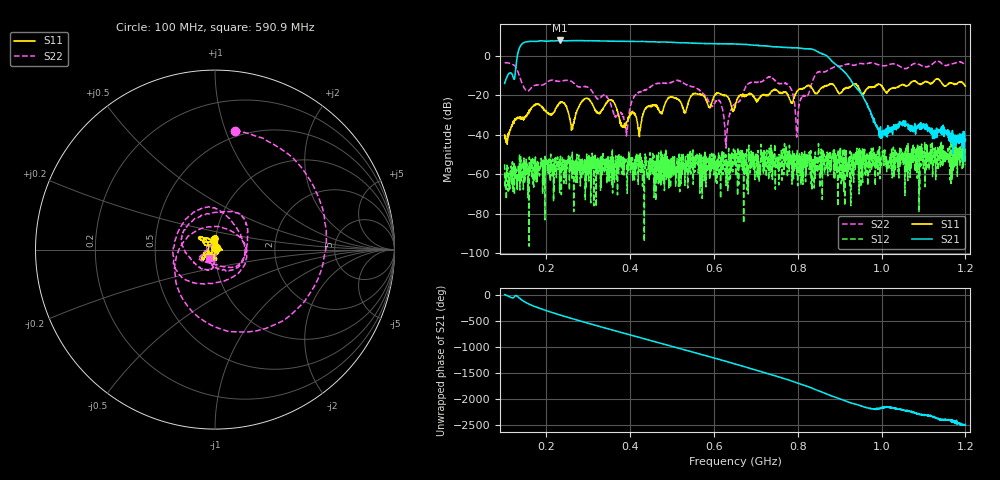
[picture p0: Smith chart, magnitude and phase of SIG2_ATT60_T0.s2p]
# Hz S DB R 50
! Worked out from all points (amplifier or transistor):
!   1601 points, 100 MHz to 1.2 GHz, reference 50 ohm
!   highest |S21| = 7.9 dB at 232 MHz (marker M1)
!   |S21| within 3 dB of that: 137.1 MHz to 733.4 MHz (596.2 MHz wide, 137 % of centre)
!   unconditionally stable (mu >= 1): start of sweep to end of sweep
!   at 282.9 MHz: K = 91.06, MAG = 8.0 dB, |S12| = -53.4 dB
!   at 650 MHz: K = 112.96, MAG = 6.1 dB, |S12| = -53.2 dB
!   at 1.2 GHz: K = 23636.76, MAG = -40.4 dB, |S12| = -55.2 dB
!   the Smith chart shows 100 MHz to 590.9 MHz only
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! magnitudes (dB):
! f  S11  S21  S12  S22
! 100 MHz  -40.1  -13.9  -55.0  -3.5
! 122 MHz  -34.2  -11.7  -57.8  -4.6
! 144 MHz  -32.2  6.6  -55.5  -14.9
! 232 MHz  -23.9  7.9  -52.4  -12.8
! 261.6 MHz  -36.4  7.8  -48.8  -13.2
! 283.6 MHz  -23.4  7.8  -62.6  -15.6
! 355.1 MHz  -22.4  7.5  -58.9  -25.8
! 390.1 MHz  -34.8  7.5  -52.6  -37.1
! 411.4 MHz  -30.0  7.4  -58.8  -20.0
! 421.8 MHz  -41.0  7.4  -54.6  -18.2
! 438.2 MHz  -26.2  7.4  -57.5  -17.0
! 467.1 MHz  -26.6  7.1  -64.8  -13.9
! 610.8 MHz  -18.9  6.2  -49.3  -22.4
! 629.4 MHz  -20.2  6.2  -52.7  -43.4
! 650 MHz  -25.6  6.1  -53.2  -24.5
! 734.6 MHz  -18.8  4.9  -52.2  -10.6
! 780.6 MHz  -22.0  4.2  -52.1  -15.6
! 797.8 MHz  -18.1  4.2  -60.1  -40.4
! 833.6 MHz  -16.2  3.6  -68.2  -13.7
! 996.5 MHz  -14.4  -41.4  -51.5  -4.7
! 1.017 GHz  -17.1  -38.9  -56.9  -4.4
! 1.2 GHz  -15.3  -42.6  -55.2  -4.3
